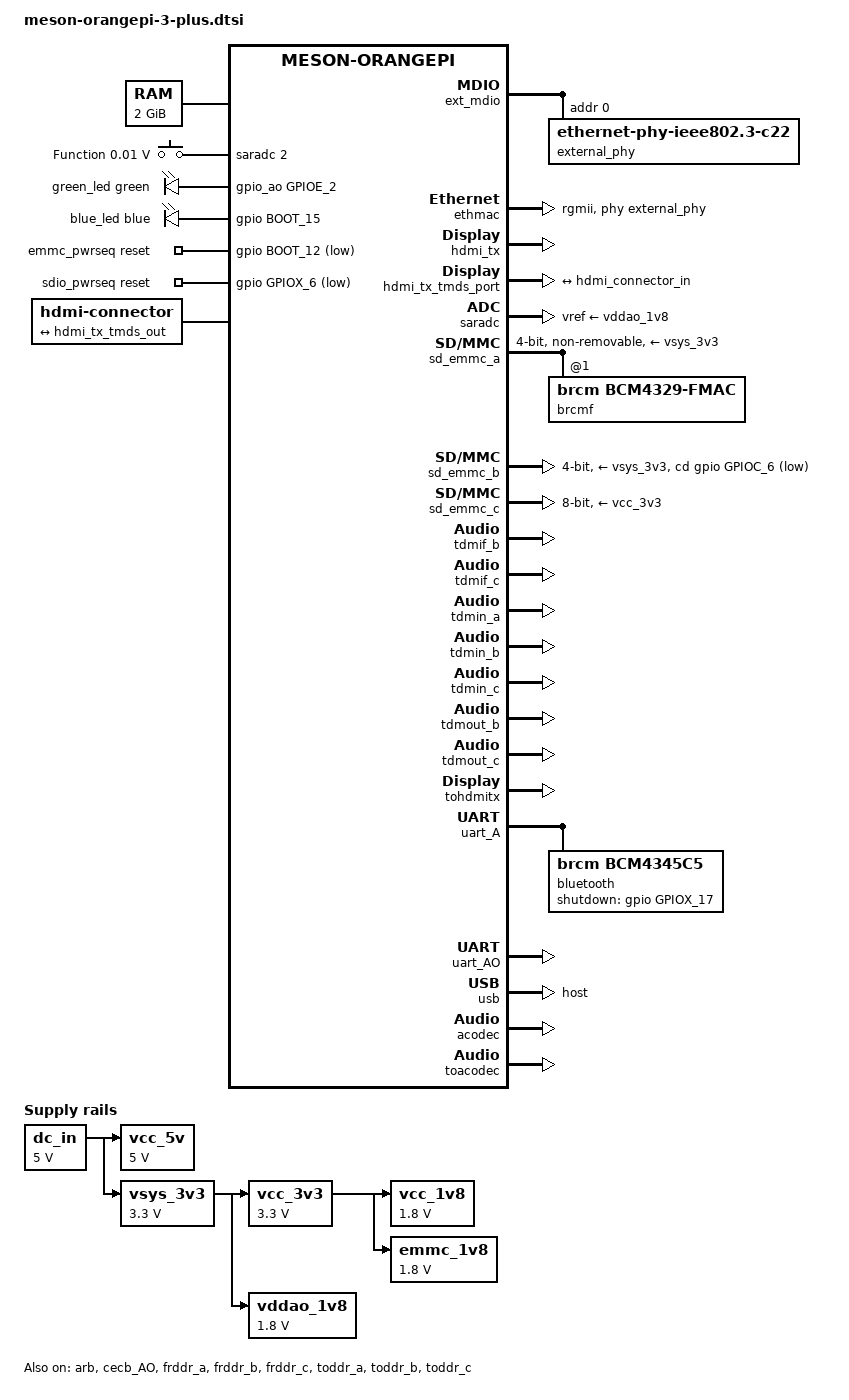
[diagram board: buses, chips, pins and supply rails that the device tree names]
// SPDX-License-Identifier: (GPL-2.0+ OR MIT)
/*
 * Copyright (c) 2019 BayLibre, SAS
 * Author: Neil Armstrong <narmstrong@baylibre.com>
 * Copyright (c) 2019 Christian Hewitt <christianshewitt@gmail.com>
 */

#include <dt-bindings/input/input.h>
#include <dt-bindings/leds/common.h>
#include <dt-bindings/gpio/meson-g12a-gpio.h>
#include <dt-bindings/sound/meson-g12a-tohdmitx.h>
#include <dt-bindings/sound/meson-g12a-toacodec.h>

/ {
	aliases {
		serial0 = &uart_AO;
		ethernet0 = &ethmac;
		rtc0 = &hym8563;
		rtc1 = &vrtc;
	};

	chosen {
		stdout-path = "serial0:115200n8";
	};

	memory@0 {
		device_type = "memory";
		reg = <0x0 0x0 0x0 0x80000000>;
	};

	adc-keys {
		compatible = "adc-keys";
		io-channels = <&saradc 2>;
		io-channel-names = "buttons";
		keyup-threshold-microvolt = <1710000>;

		button-function {
			label = "Function";
			linux,code = <KEY_FN>;
			press-threshold-microvolt = <10000>;
		};
	};

	leds {
		compatible = "gpio-leds";

		led-green {
			color = <LED_COLOR_ID_GREEN>;
			label = "green_led";
			function = LED_FUNCTION_STATUS;
			gpios = <&gpio_ao GPIOE_2 GPIO_OPEN_DRAIN>;
			linux,default-trigger = "heartbeat";
		};

		led-blue {
			color = <LED_COLOR_ID_BLUE>;
			label = "blue_led";
			function = LED_FUNCTION_STATUS;
			gpios = <&gpio BOOT_15 GPIO_ACTIVE_HIGH>;
			linux,default-trigger = "heartbeat";
		};
	};

	emmc_pwrseq: emmc-pwrseq {
		compatible = "mmc-pwrseq-emmc";
		reset-gpios = <&gpio BOOT_12 GPIO_ACTIVE_LOW>;
	};

	sdio_pwrseq: sdio-pwrseq {
		compatible = "mmc-pwrseq-simple";
		reset-gpios = <&gpio GPIOX_6 GPIO_ACTIVE_LOW>;
		clocks = <&hym8563>;
		clock-names = "ext_clock";
	};

	dc_in: regulator-dc_in {
		compatible = "regulator-fixed";
		regulator-name = "DC_IN";
		regulator-min-microvolt = <5000000>;
		regulator-max-microvolt = <5000000>;
		regulator-always-on;
	};

	vcc_5v: regulator-vcc_5v {
		compatible = "regulator-fixed";
		regulator-name = "VCC_5V";
		regulator-min-microvolt = <5000000>;
		regulator-max-microvolt = <5000000>;
		vin-supply = <&dc_in>;
		regulator-always-on;
	};

	vcc_1v8: regulator-vcc_1v8 {
		compatible = "regulator-fixed";
		regulator-name = "VCC_1V8";
		regulator-min-microvolt = <1800000>;
		regulator-max-microvolt = <1800000>;
		vin-supply = <&vcc_3v3>;
		regulator-always-on;
	};

	vcc_3v3: regulator-vcc_3v3 {
		compatible = "regulator-fixed";
		regulator-name = "VCC_3V3";
		regulator-min-microvolt = <3300000>;
		regulator-max-microvolt = <3300000>;
		vin-supply = <&vsys_3v3>;
		regulator-always-on;
		/* FIXME: actually controlled by VDDCPU_B_EN */
	};

	vddao_1v8: regulator-vddao_1v8 {
		compatible = "regulator-fixed";
		regulator-name = "VDDIO_AO1V8";
		regulator-min-microvolt = <1800000>;
		regulator-max-microvolt = <1800000>;
		vin-supply = <&vsys_3v3>;
		regulator-always-on;
	};

	emmc_1v8: regulator-emmc_1v8 {
		compatible = "regulator-fixed";
		regulator-name = "EMMC_AO1V8";
		regulator-min-microvolt = <1800000>;
		regulator-max-microvolt = <1800000>;
		vin-supply = <&vcc_3v3>;
		regulator-always-on;
	};

	vsys_3v3: regulator-vsys_3v3 {
		compatible = "regulator-fixed";
		regulator-name = "VSYS_3V3";
		regulator-min-microvolt = <3300000>;
		regulator-max-microvolt = <3300000>;
		vin-supply = <&dc_in>;
		regulator-always-on;
	};

	hdmi-connector {
		compatible = "hdmi-connector";
		type = "a";

		port {
			hdmi_connector_in: endpoint {
				remote-endpoint = <&hdmi_tx_tmds_out>;
			};
		};
	};
};

&arb {
	status = "okay";
};

&clkc_audio {
	status = "okay";
};

&cec_AO {
	pinctrl-0 = <&cec_ao_a_h_pins>;
	pinctrl-names = "default";
	status = "disabled";
	hdmi-phandle = <&hdmi_tx>;
};

&cecb_AO {
	pinctrl-0 = <&cec_ao_b_h_pins>;
	pinctrl-names = "default";
	status = "okay";
	hdmi-phandle = <&hdmi_tx>;
};

&cpu_thermal {
	trips {
		cpu_active: cpu-active {
			temperature = <80000>; /* millicelsius */
			hysteresis = <2000>; /* millicelsius */
			type = "active";
		};
	};

	cooling-maps {
		map {
			trip = <&cpu_active>;
		};
	};
};

&ext_mdio {
	external_phy: ethernet-phy@0 {
		compatible = "ethernet-phy-ieee802.3-c22";
		reg = <0>;
		motorcomm,clk-out-frequency-hz = <125000000>;
		motorcomm,keep-pll-enabled;
		motorcomm,auto-sleep-disabled;
	};
};

&ethmac {
	pinctrl-0 = <&eth_pins>, <&eth_rgmii_pins>;
	pinctrl-names = "default";
	status = "okay";
	phy-mode = "rgmii";
	phy-handle = <&external_phy>;
	amlogic,tx-delay-ns = <2>;
};

&frddr_a {
	status = "okay";
};

&frddr_b {
	status = "okay";
};

&frddr_c {
	status = "okay";
};

&hdmi_tx {
	status = "okay";
	pinctrl-0 = <&hdmitx_hpd_pins>, <&hdmitx_ddc_pins>;
	pinctrl-names = "default";
	hdmi-supply = <&vcc_5v>;
};

&hdmi_tx_tmds_port {
	hdmi_tx_tmds_out: endpoint {
		remote-endpoint = <&hdmi_connector_in>;
	};
};

&i2c_AO {
	status = "disabled";
	pinctrl-0 = <&i2c_ao_sck_pins>, <&i2c_ao_sda_pins>;
	pinctrl-names = "default";
};

&ir {
	status = "disabled";
	pinctrl-0 = <&remote_input_ao_pins>;
	pinctrl-names = "default";
	linux,rc-map-name = "rc-khadas";
};

&saradc {
	status = "okay";
	vref-supply = <&vddao_1v8>;
};

/* SDIO */
&sd_emmc_a {
	status = "okay";
	pinctrl-0 = <&sdio_pins>;
	pinctrl-1 = <&sdio_clk_gate_pins>;
	pinctrl-names = "default", "clk-gate";
	#address-cells = <1>;
	#size-cells = <0>;

	bus-width = <4>;
	cap-sd-highspeed;
	max-frequency = <100000000>;

	non-removable;
	disable-wp;

	/* WiFi firmware requires power to be kept while in suspend */
	keep-power-in-suspend;

	mmc-pwrseq = <&sdio_pwrseq>;

	vmmc-supply = <&vsys_3v3>;
	vqmmc-supply = <&vddao_1v8>;

	brcmf: wifi@1 {
		reg = <1>;
		compatible = "brcm,bcm4329-fmac";
	};
};

/* SD card */
&sd_emmc_b {
	status = "okay";
	pinctrl-0 = <&sdcard_c_pins>;
	pinctrl-1 = <&sdcard_clk_gate_c_pins>;
	pinctrl-names = "default", "clk-gate";

	bus-width = <4>;
	cap-sd-highspeed;
	max-frequency = <50000000>;
	disable-wp;

	cd-gpios = <&gpio GPIOC_6 GPIO_ACTIVE_LOW>;
	vmmc-supply = <&vsys_3v3>;
	vqmmc-supply = <&vsys_3v3>;
};

/* eMMC */
&sd_emmc_c {
	status = "okay";
	pinctrl-0 = <&emmc_ctrl_pins>, <&emmc_data_8b_pins>, <&emmc_ds_pins>;
	pinctrl-1 = <&emmc_clk_gate_pins>;
	pinctrl-names = "default", "clk-gate";

	bus-width = <8>;
	cap-mmc-highspeed;
	mmc-ddr-1_8v;
	mmc-hs200-1_8v;
	max-frequency = <200000000>;
	disable-wp;

	mmc-pwrseq = <&emmc_pwrseq>;
	vmmc-supply = <&vcc_3v3>;
	vqmmc-supply = <&emmc_1v8>;
};

/*
 * EMMC_D4, EMMC_D5, EMMC_D6 and EMMC_D7 pins are shared between SPI NOR CS
 * and eMMC Data 4 to 7 pins.
 * Replace emmc_data_8b_pins to emmc_data_4b_pins from sd_emmc_c pinctrl-0,
 * and change bus-width to 4 then spifc can be enabled.
 */
&spifc {
	status = "disabled";
	pinctrl-0 = <&nor_pins>;
	pinctrl-names = "default";

	w25q128: flash@0 {
		#address-cells = <1>;
		#size-cells = <1>;
		compatible = "winbond,w25q128fw", "jedec,spi-nor";
		reg = <0>;
		spi-max-frequency = <104000000>;
	};
};

&tdmif_b {
        status = "okay";
};

&tdmif_c {
        status = "okay";
};

&tdmin_a {
	status = "okay";
};

&tdmin_b {
        status = "okay";
};

&tdmin_c {
        status = "okay";
};

&tdmout_b {
        status = "okay";
};

&tdmout_c {
        status = "okay";
};

&toddr_a {
	status = "okay";
};

&toddr_b {
	status = "okay";
};

&toddr_c {
	status = "okay";
};

&tohdmitx {
	status = "okay";
};

&uart_A {
	status = "okay";
	pinctrl-0 = <&uart_a_pins>, <&uart_a_cts_rts_pins>;
	pinctrl-names = "default";
	uart-has-rtscts;

	bluetooth {
		compatible = "brcm,bcm4345c5";
		shutdown-gpios = <&gpio GPIOX_17 GPIO_ACTIVE_HIGH>;
		max-speed = <2000000>;
		clocks = <&hym8563>;
		clock-names = "lpo";
	};
};

&uart_AO {
	status = "okay";
	pinctrl-0 = <&uart_ao_a_pins>;
	pinctrl-names = "default";
};

&usb {
	status = "okay";
	dr_mode = "host";
};

&acodec {
	AVDD-supply = <&vddao_1v8>;
	status = "okay";
};

&toacodec {
	status = "okay";
};
